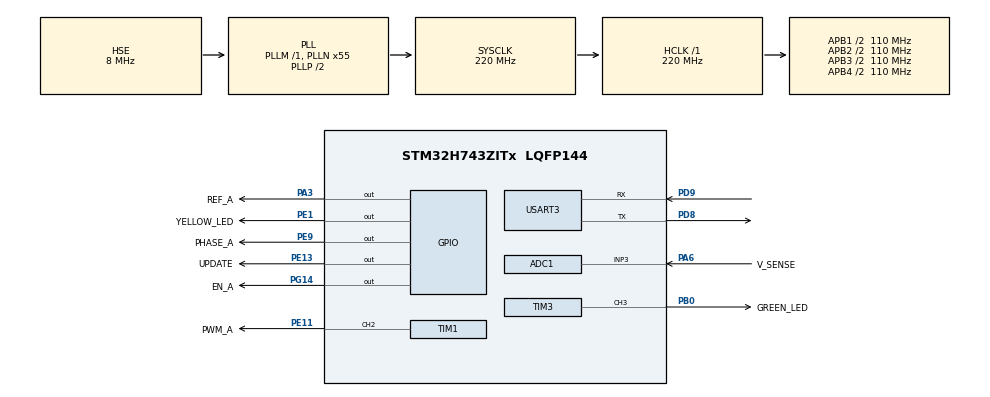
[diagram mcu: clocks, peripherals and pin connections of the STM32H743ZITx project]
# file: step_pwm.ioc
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ADC1.Channel-0\#ChannelRegularConversion=ADC_CHANNEL_3
ADC1.NbrOfConversionFlag=1
ADC1.OffsetNumber-0\#ChannelRegularConversion=ADC_OFFSET_NONE
ADC1.OffsetSignedSaturation-0\#ChannelRegularConversion=DISABLE
ADC1.Rank-0\#ChannelRegularConversion=1
ADC1.SamplingTime-0\#ChannelRegularConversion=ADC_SAMPLETIME_1CYCLE_5
ADC1.master=1
Mcu.Family=STM32H7
Mcu.Name=STM32H743ZITx
Mcu.Package=LQFP144
NVIC.PriorityGroup=NVIC_PRIORITYGROUP_4
NVIC.TIM1_UP_IRQn=true\:0\:0\:false\:false\:true\:true\:true\:true
PA3.GPIO_Label=REF_A
PA3.Signal=GPIO_Output
PA6.GPIO_Label=V_SENSE
PA6.Signal=ADCx_INP3
PB0.GPIO_Label=GREEN_LED
PB0.Signal=S_TIM3_CH3
PD8.Mode=Asynchronous
PD8.Signal=USART3_TX
PD9.Mode=Asynchronous
PD9.Signal=USART3_RX
PE1.GPIO_Label=YELLOW_LED
PE1.Signal=GPIO_Output
PE11.GPIO_Label=PWM_A
PE11.Signal=S_TIM1_CH2
PE13.GPIO_Label=UPDATE
PE13.Signal=GPIO_Output
PE9.GPIO_Label=PHASE_A
PE9.Signal=GPIO_Output
PG14.GPIO_Label=EN_A
PG14.Signal=GPIO_Output
PH0-OSC_IN\ (PH0).Mode=HSE-External-Oscillator
PH0-OSC_IN\ (PH0).Signal=RCC_OSC_IN
PH1-OSC_OUT\ (PH1).Mode=HSE-External-Oscillator
PH1-OSC_OUT\ (PH1).Signal=RCC_OSC_OUT
ProjectManager.HeapSize=0x200
ProjectManager.StackSize=0x400
ProjectManager.TargetToolchain=STM32CubeIDE
RCC.ADCFreq_Value=80000000
RCC.APB1Freq_Value=110000000
RCC.APB2Freq_Value=110000000
RCC.APB3Freq_Value=110000000
RCC.APB4Freq_Value=110000000
RCC.CortexFreq_Value=220000000
RCC.D1PPRE=RCC_APB3_DIV2
RCC.D2PPRE1=RCC_APB1_DIV2
RCC.D2PPRE2=RCC_APB2_DIV2
RCC.D3PPRE=RCC_APB4_DIV2
RCC.DIVM1=1
RCC.DIVM2=1
RCC.DIVN1=55
RCC.DIVN2=120
RCC.DIVP2=12
RCC.DIVQ2=13
RCC.HCLKFreq_Value=220000000
RCC.HSE_VALUE=8000000
RCC.PLLSourceVirtual=RCC_PLLSOURCE_HSE
RCC.SYSCLKFreq_VALUE=220000000
RCC.SYSCLKSource=RCC_SYSCLKSOURCE_PLLCLK
RCC.USART234578CLockSelection=RCC_USART234578CLKSOURCE_PLL2
RCC.USBFreq_Value=220000000
SH.ADCx_INP3.0=ADC1_INP3,IN3-Single-Ended
SH.S_TIM1_CH2.0=TIM1_CH2,PWM Generation2 CH2
SH.S_TIM3_CH3.0=TIM3_CH3,PWM Generation3 CH3
TIM1.Channel-PWM\ Generation2\ CH2=TIM_CHANNEL_2
TIM1.Period=22000-1
TIM3.Channel-PWM\ Generation3\ CH3=TIM_CHANNEL_3
TIM3.Period=22000-1
USART3.VirtualMode-Asynchronous=VM_ASYNC
VP_TIM1_VS_ClockSourceINT.Mode=Internal
VP_TIM3_VS_ClockSourceINT.Mode=Internal
board=custom

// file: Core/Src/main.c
/* USER CODE BEGIN Header */
/**
  ******************************************************************************
  * @file           : main.c
  * @brief          : Main program body
  ******************************************************************************
  * @attention
  *
  * Copyright (c) 2024 STMicroelectronics.
  * All rights reserved.
  *
  * This software is licensed under terms that can be found in the LICENSE file
  * in the root directory of this software component.
  * If no LICENSE file comes with this software, it is provided AS-IS.
  *
  ******************************************************************************
  */
/* USER CODE END Header */
#include "main.h"

/* USER CODE BEGIN Includes */
#include<stdio.h>
#include<string.h>
/* USER CODE END Includes */

/* USER CODE BEGIN PD */
#define PERIOD (22000-1)
#define RESOLUTION 65535.0
#define TRUE 1
#define FALSE 0
#define ONESEC 10000
/* USER CODE END PD */

ADC_HandleTypeDef hadc1;

TIM_HandleTypeDef htim1;
TIM_HandleTypeDef htim3;

UART_HandleTypeDef huart3;

/* USER CODE BEGIN PV */
static const double Vss = 2.0; // modify this when changing supply voltage to H-bridge

char msg[80];
int msg_length;
uint8_t ctrl_tmr_expired = FALSE; //controller flag
// reference (input) for control loop
static double ref=0;

/* USER CODE END PV */

void SystemClock_Config(void);
void PeriphCommonClock_Config(void);
static void MX_GPIO_Init(void);
static void MX_TIM3_Init(void);
static void MX_USART3_UART_Init(void);
static void MX_ADC1_Init(void);
static void MX_TIM1_Init(void);
/* USER CODE BEGIN PFP */
static void control_update(double ref);
static uint16_t calc_dutycycle(double v_in, double vss);

/* USER CODE END PFP */

int main(void)
{

  /* MCU Configuration--------------------------------------------------------*/

  /* Reset of all peripherals, Initializes the Flash interface and the Systick. */
  HAL_Init();

  /* Configure the system clock */
  SystemClock_Config();

/* Configure the peripherals common clocks */
  PeriphCommonClock_Config();

  /* Initialize all configured peripherals */
  MX_GPIO_Init();
  MX_TIM3_Init();
  MX_USART3_UART_Init();
  MX_ADC1_Init();
  MX_TIM1_Init();
  /* USER CODE BEGIN 2 */
  // Initialize the GPIO pins
  HAL_GPIO_WritePin(GPIOE, PHASE_A_Pin|UPDATE_Pin|YELLOW_LED_Pin, GPIO_PIN_SET);
  // Set the reference voltage
  HAL_GPIO_WritePin(REF_A_GPIO_Port, REF_A_Pin, GPIO_PIN_SET);
  // enable the motor driver
  HAL_GPIO_WritePin(EN_A_GPIO_Port,EN_A_Pin,GPIO_PIN_SET);
  // start the timers and PWM generation
  TIM3->ARR = PERIOD;
  TIM1->ARR = PERIOD;
  TIM3->CCR3 = 0;
  TIM1->CCR2 = 0;
  HAL_TIM_Base_Start(&htim3);
  HAL_TIM_Base_Start_IT(&htim1);
  HAL_TIM_PWM_Start(&htim3, TIM_CHANNEL_3);
  HAL_TIM_PWM_Start(&htim1, TIM_CHANNEL_2); // Start PWM generation on timer 1, channel 2

  msg_length = sprintf(msg,"Step test application Initialized\r\n");
  HAL_UART_Transmit(&huart3, (uint8_t *) msg, msg_length, HAL_MAX_DELAY);

  /* USER CODE END 2 */

  /* Infinite loop */
  /* USER CODE BEGIN WHILE */
  while (1)
  {
	  if(ctrl_tmr_expired == TRUE) control_update(ref);

    /* USER CODE END WHILE */

  }
}

void SystemClock_Config(void)
{
  RCC_OscInitTypeDef RCC_OscInitStruct = {0};
  RCC_ClkInitTypeDef RCC_ClkInitStruct = {0};

  /** Supply configuration update enable
  */
  HAL_PWREx_ConfigSupply(PWR_LDO_SUPPLY);

  /** Configure the main internal regulator output voltage
  */
  __HAL_PWR_VOLTAGESCALING_CONFIG(PWR_REGULATOR_VOLTAGE_SCALE2);

  while(!__HAL_PWR_GET_FLAG(PWR_FLAG_VOSRDY)) {}

  /** Initializes the RCC Oscillators according to the specified parameters
  * in the RCC_OscInitTypeDef structure.
  */
  RCC_OscInitStruct.OscillatorType = RCC_OSCILLATORTYPE_HSE;
  RCC_OscInitStruct.HSEState = RCC_HSE_ON;
  RCC_OscInitStruct.PLL.PLLState = RCC_PLL_ON;
  RCC_OscInitStruct.PLL.PLLSource = RCC_PLLSOURCE_HSE;
  RCC_OscInitStruct.PLL.PLLM = 1;
  RCC_OscInitStruct.PLL.PLLN = 55;
  RCC_OscInitStruct.PLL.PLLP = 2;
  RCC_OscInitStruct.PLL.PLLQ = 2;
  RCC_OscInitStruct.PLL.PLLR = 2;
  RCC_OscInitStruct.PLL.PLLRGE = RCC_PLL1VCIRANGE_3;
  RCC_OscInitStruct.PLL.PLLVCOSEL = RCC_PLL1VCOWIDE;
  RCC_OscInitStruct.PLL.PLLFRACN = 0;
  if (HAL_RCC_OscConfig(&RCC_OscInitStruct) != HAL_OK)
  {
    Error_Handler();
  }

  /** Initializes the CPU, AHB and APB buses clocks
  */
  RCC_ClkInitStruct.ClockType = RCC_CLOCKTYPE_HCLK|RCC_CLOCKTYPE_SYSCLK
                              |RCC_CLOCKTYPE_PCLK1|RCC_CLOCKTYPE_PCLK2
                              |RCC_CLOCKTYPE_D3PCLK1|RCC_CLOCKTYPE_D1PCLK1;
  RCC_ClkInitStruct.SYSCLKSource = RCC_SYSCLKSOURCE_PLLCLK;
  RCC_ClkInitStruct.SYSCLKDivider = RCC_SYSCLK_DIV1;
  RCC_ClkInitStruct.AHBCLKDivider = RCC_HCLK_DIV1;
  RCC_ClkInitStruct.APB3CLKDivider = RCC_APB3_DIV2;
  RCC_ClkInitStruct.APB1CLKDivider = RCC_APB1_DIV2;
  RCC_ClkInitStruct.APB2CLKDivider = RCC_APB2_DIV2;
  RCC_ClkInitStruct.APB4CLKDivider = RCC_APB4_DIV2;

  if (HAL_RCC_ClockConfig(&RCC_ClkInitStruct, FLASH_LATENCY_3) != HAL_OK)
  {
    Error_Handler();
  }
}

void PeriphCommonClock_Config(void)
{
  RCC_PeriphCLKInitTypeDef PeriphClkInitStruct = {0};

  /** Initializes the peripherals clock
  */
  PeriphClkInitStruct.PeriphClockSelection = RCC_PERIPHCLK_ADC|RCC_PERIPHCLK_USART3;
  PeriphClkInitStruct.PLL2.PLL2M = 1;
  PeriphClkInitStruct.PLL2.PLL2N = 120;
  PeriphClkInitStruct.PLL2.PLL2P = 12;
  PeriphClkInitStruct.PLL2.PLL2Q = 13;
  PeriphClkInitStruct.PLL2.PLL2R = 2;
  PeriphClkInitStruct.PLL2.PLL2RGE = RCC_PLL2VCIRANGE_3;
  PeriphClkInitStruct.PLL2.PLL2VCOSEL = RCC_PLL2VCOWIDE;
  PeriphClkInitStruct.PLL2.PLL2FRACN = 0;
  PeriphClkInitStruct.Usart234578ClockSelection = RCC_USART234578CLKSOURCE_PLL2;
  PeriphClkInitStruct.AdcClockSelection = RCC_ADCCLKSOURCE_PLL2;
  if (HAL_RCCEx_PeriphCLKConfig(&PeriphClkInitStruct) != HAL_OK)
  {
    Error_Handler();
  }
}

static void MX_ADC1_Init(void)
{

  ADC_MultiModeTypeDef multimode = {0};
  ADC_ChannelConfTypeDef sConfig = {0};

  /** Common config
  */
  hadc1.Instance = ADC1;
  hadc1.Init.ClockPrescaler = ADC_CLOCK_ASYNC_DIV2;
  hadc1.Init.Resolution = ADC_RESOLUTION_16B;
  hadc1.Init.ScanConvMode = ADC_SCAN_DISABLE;
  hadc1.Init.EOCSelection = ADC_EOC_SINGLE_CONV;
  hadc1.Init.LowPowerAutoWait = DISABLE;
  hadc1.Init.ContinuousConvMode = DISABLE;
  hadc1.Init.NbrOfConversion = 1;
  hadc1.Init.DiscontinuousConvMode = DISABLE;
  hadc1.Init.ExternalTrigConv = ADC_SOFTWARE_START;
  hadc1.Init.ExternalTrigConvEdge = ADC_EXTERNALTRIGCONVEDGE_NONE;
  hadc1.Init.ConversionDataManagement = ADC_CONVERSIONDATA_DR;
  hadc1.Init.Overrun = ADC_OVR_DATA_PRESERVED;
  hadc1.Init.LeftBitShift = ADC_LEFTBITSHIFT_NONE;
  hadc1.Init.OversamplingMode = DISABLE;
  if (HAL_ADC_Init(&hadc1) != HAL_OK)
  {
    Error_Handler();
  }

  /** Configure the ADC multi-mode
  */
  multimode.Mode = ADC_MODE_INDEPENDENT;
  if (HAL_ADCEx_MultiModeConfigChannel(&hadc1, &multimode) != HAL_OK)
  {
    Error_Handler();
  }

  /** Configure Regular Channel
  */
  sConfig.Channel = ADC_CHANNEL_3;
  sConfig.Rank = ADC_REGULAR_RANK_1;
  sConfig.SamplingTime = ADC_SAMPLETIME_1CYCLE_5;
  sConfig.SingleDiff = ADC_SINGLE_ENDED;
  sConfig.OffsetNumber = ADC_OFFSET_NONE;
  sConfig.Offset = 0;
  sConfig.OffsetSignedSaturation = DISABLE;
  if (HAL_ADC_ConfigChannel(&hadc1, &sConfig) != HAL_OK)
  {
    Error_Handler();
  }

}

static void MX_TIM1_Init(void)
{

  TIM_ClockConfigTypeDef sClockSourceConfig = {0};
  TIM_MasterConfigTypeDef sMasterConfig = {0};
  TIM_OC_InitTypeDef sConfigOC = {0};
  TIM_BreakDeadTimeConfigTypeDef sBreakDeadTimeConfig = {0};

  htim1.Instance = TIM1;
  htim1.Init.Prescaler = 0;
  htim1.Init.CounterMode = TIM_COUNTERMODE_UP;
  htim1.Init.Period = 22000-1;
  htim1.Init.ClockDivision = TIM_CLOCKDIVISION_DIV1;
  htim1.Init.RepetitionCounter = 0;
  htim1.Init.AutoReloadPreload = TIM_AUTORELOAD_PRELOAD_DISABLE;
  if (HAL_TIM_Base_Init(&htim1) != HAL_OK)
  {
    Error_Handler();
  }
  sClockSourceConfig.ClockSource = TIM_CLOCKSOURCE_INTERNAL;
  if (HAL_TIM_ConfigClockSource(&htim1, &sClockSourceConfig) != HAL_OK)
  {
    Error_Handler();
  }
  if (HAL_TIM_PWM_Init(&htim1) != HAL_OK)
  {
    Error_Handler();
  }
  sMasterConfig.MasterOutputTrigger = TIM_TRGO_RESET;
  sMasterConfig.MasterOutputTrigger2 = TIM_TRGO2_RESET;
  sMasterConfig.MasterSlaveMode = TIM_MASTERSLAVEMODE_DISABLE;
  if (HAL_TIMEx_MasterConfigSynchronization(&htim1, &sMasterConfig) != HAL_OK)
  {
    Error_Handler();
  }
  sConfigOC.OCMode = TIM_OCMODE_PWM1;
  sConfigOC.Pulse = 0;
  sConfigOC.OCPolarity = TIM_OCPOLARITY_HIGH;
  sConfigOC.OCNPolarity = TIM_OCNPOLARITY_HIGH;
  sConfigOC.OCFastMode = TIM_OCFAST_DISABLE;
  sConfigOC.OCIdleState = TIM_OCIDLESTATE_RESET;
  sConfigOC.OCNIdleState = TIM_OCNIDLESTATE_RESET;
  if (HAL_TIM_PWM_ConfigChannel(&htim1, &sConfigOC, TIM_CHANNEL_2) != HAL_OK)
  {
    Error_Handler();
  }
  sBreakDeadTimeConfig.OffStateRunMode = TIM_OSSR_DISABLE;
  sBreakDeadTimeConfig.OffStateIDLEMode = TIM_OSSI_DISABLE;
  sBreakDeadTimeConfig.LockLevel = TIM_LOCKLEVEL_OFF;
  sBreakDeadTimeConfig.DeadTime = 0;
  sBreakDeadTimeConfig.BreakState = TIM_BREAK_DISABLE;
  sBreakDeadTimeConfig.BreakPolarity = TIM_BREAKPOLARITY_HIGH;
  sBreakDeadTimeConfig.BreakFilter = 0;
  sBreakDeadTimeConfig.Break2State = TIM_BREAK2_DISABLE;
  sBreakDeadTimeConfig.Break2Polarity = TIM_BREAK2POLARITY_HIGH;
  sBreakDeadTimeConfig.Break2Filter = 0;
  sBreakDeadTimeConfig.AutomaticOutput = TIM_AUTOMATICOUTPUT_DISABLE;
  if (HAL_TIMEx_ConfigBreakDeadTime(&htim1, &sBreakDeadTimeConfig) != HAL_OK)
  {
    Error_Handler();
  }
  HAL_TIM_MspPostInit(&htim1);

}

static void MX_TIM3_Init(void)
{

  TIM_ClockConfigTypeDef sClockSourceConfig = {0};
  TIM_MasterConfigTypeDef sMasterConfig = {0};
  TIM_OC_InitTypeDef sConfigOC = {0};

  htim3.Instance = TIM3;
  htim3.Init.Prescaler = 0;
  htim3.Init.CounterMode = TIM_COUNTERMODE_UP;
  htim3.Init.Period = 22000-1;
  htim3.Init.ClockDivision = TIM_CLOCKDIVISION_DIV1;
  htim3.Init.AutoReloadPreload = TIM_AUTORELOAD_PRELOAD_DISABLE;
  if (HAL_TIM_Base_Init(&htim3) != HAL_OK)
  {
    Error_Handler();
  }
  sClockSourceConfig.ClockSource = TIM_CLOCKSOURCE_INTERNAL;
  if (HAL_TIM_ConfigClockSource(&htim3, &sClockSourceConfig) != HAL_OK)
  {
    Error_Handler();
  }
  if (HAL_TIM_PWM_Init(&htim3) != HAL_OK)
  {
    Error_Handler();
  }
  sMasterConfig.MasterOutputTrigger = TIM_TRGO_RESET;
  sMasterConfig.MasterSlaveMode = TIM_MASTERSLAVEMODE_DISABLE;
  if (HAL_TIMEx_MasterConfigSynchronization(&htim3, &sMasterConfig) != HAL_OK)
  {
    Error_Handler();
  }
  sConfigOC.OCMode = TIM_OCMODE_PWM1;
  sConfigOC.Pulse = 0;
  sConfigOC.OCPolarity = TIM_OCPOLARITY_HIGH;
  sConfigOC.OCFastMode = TIM_OCFAST_DISABLE;
  if (HAL_TIM_PWM_ConfigChannel(&htim3, &sConfigOC, TIM_CHANNEL_3) != HAL_OK)
  {
    Error_Handler();
  }
  HAL_TIM_MspPostInit(&htim3);

}

static void MX_USART3_UART_Init(void)
{

  huart3.Instance = USART3;
  huart3.Init.BaudRate = 115200;
  huart3.Init.WordLength = UART_WORDLENGTH_8B;
  huart3.Init.StopBits = UART_STOPBITS_1;
  huart3.Init.Parity = UART_PARITY_NONE;
  huart3.Init.Mode = UART_MODE_TX_RX;
  huart3.Init.HwFlowCtl = UART_HWCONTROL_NONE;
  huart3.Init.OverSampling = UART_OVERSAMPLING_16;
  huart3.Init.OneBitSampling = UART_ONE_BIT_SAMPLE_DISABLE;
  huart3.Init.ClockPrescaler = UART_PRESCALER_DIV1;
  huart3.AdvancedInit.AdvFeatureInit = UART_ADVFEATURE_NO_INIT;
  if (HAL_UART_Init(&huart3) != HAL_OK)
  {
    Error_Handler();
  }
  if (HAL_UARTEx_SetTxFifoThreshold(&huart3, UART_TXFIFO_THRESHOLD_1_8) != HAL_OK)
  {
    Error_Handler();
  }
  if (HAL_UARTEx_SetRxFifoThreshold(&huart3, UART_RXFIFO_THRESHOLD_1_8) != HAL_OK)
  {
    Error_Handler();
  }
  if (HAL_UARTEx_DisableFifoMode(&huart3) != HAL_OK)
  {
    Error_Handler();
  }

}

static void MX_GPIO_Init(void)
{
  GPIO_InitTypeDef GPIO_InitStruct = {0};

  /* GPIO Ports Clock Enable */
  __HAL_RCC_GPIOH_CLK_ENABLE();
  __HAL_RCC_GPIOA_CLK_ENABLE();
  __HAL_RCC_GPIOB_CLK_ENABLE();
  __HAL_RCC_GPIOE_CLK_ENABLE();
  __HAL_RCC_GPIOD_CLK_ENABLE();
  __HAL_RCC_GPIOG_CLK_ENABLE();

  /*Configure GPIO pin Output Level */
  HAL_GPIO_WritePin(REF_A_GPIO_Port, REF_A_Pin, GPIO_PIN_RESET);

  /*Configure GPIO pin Output Level */
  HAL_GPIO_WritePin(GPIOE, PHASE_A_Pin|UPDATE_Pin|YELLOW_LED_Pin, GPIO_PIN_RESET);

  /*Configure GPIO pin Output Level */
  HAL_GPIO_WritePin(EN_A_GPIO_Port, EN_A_Pin, GPIO_PIN_RESET);

  /*Configure GPIO pin : REF_A_Pin */
  GPIO_InitStruct.Pin = REF_A_Pin;
  GPIO_InitStruct.Mode = GPIO_MODE_OUTPUT_PP;
  GPIO_InitStruct.Pull = GPIO_NOPULL;
  GPIO_InitStruct.Speed = GPIO_SPEED_FREQ_LOW;
  HAL_GPIO_Init(REF_A_GPIO_Port, &GPIO_InitStruct);

  /*Configure GPIO pins : PHASE_A_Pin UPDATE_Pin YELLOW_LED_Pin */
  GPIO_InitStruct.Pin = PHASE_A_Pin|UPDATE_Pin|YELLOW_LED_Pin;
  GPIO_InitStruct.Mode = GPIO_MODE_OUTPUT_PP;
  GPIO_InitStruct.Pull = GPIO_NOPULL;
  GPIO_InitStruct.Speed = GPIO_SPEED_FREQ_LOW;
  HAL_GPIO_Init(GPIOE, &GPIO_InitStruct);

  /*Configure GPIO pin : EN_A_Pin */
  GPIO_InitStruct.Pin = EN_A_Pin;
  GPIO_InitStruct.Mode = GPIO_MODE_OUTPUT_PP;
  GPIO_InitStruct.Pull = GPIO_NOPULL;
  GPIO_InitStruct.Speed = GPIO_SPEED_FREQ_LOW;
  HAL_GPIO_Init(EN_A_GPIO_Port, &GPIO_InitStruct);

}

/* USER CODE BEGIN 4 */
void HAL_TIM_PeriodElapsedCallback(TIM_HandleTypeDef *htim)
{
	static int i=0;
	static int dir=1;
	static int phase = 1;
	const double step = 0.075;// reference in volts

    if (htim==&htim1){
    	i+=1;
    	if(i%ONESEC == TRUE){
    		phase = -phase;
    	}
    	ref = phase*step;
    	ctrl_tmr_expired = TRUE;
	}

}

static void control_update(double ref)
{
	// sign bit of the command fed to phase input on the h-bridge
	int phase=0;
	uint16_t dutycycle=0;

	// indicate interrupt operation
	HAL_GPIO_TogglePin(UPDATE_GPIO_Port, UPDATE_Pin);

	// set the sign of the move (phase)
	if(ref < 0){
		phase = GPIO_PIN_RESET; // reverse direction
	} else {
		phase = GPIO_PIN_SET; //forward direction
	}
	HAL_GPIO_WritePin(PHASE_A_GPIO_Port, PHASE_A_Pin, phase);

	// calculate the dutycycle
	ref = fabs(ref); // duty cycle must be positive
	dutycycle = calc_dutycycle(ref,Vss);
	TIM1->CCR2 = dutycycle; //set the new timer duty cycle
	TIM3->CCR3 = dutycycle;

	// reset timer flag
	ctrl_tmr_expired = FALSE;
}

static uint16_t calc_dutycycle(double cmd, double vss)
{
	//------------------------------//
	//	@function calc_dutycycle(cmd, vss)
	//	@ param cmd command voltage
	//	@ param vss supply voltage
	//	@ return dutycycle

	// duty cycle variable
	uint16_t dc={0};

	dc = (uint16_t)(cmd/vss * (double)PERIOD);
	// keep the dutycycle within the period of the PWM signal
	if(dc>PERIOD) dc = PERIOD;

	return dc;
}

/* USER CODE END 4 */

void Error_Handler(void)
{
  __disable_irq();
  while (1)
  {
  }
}
